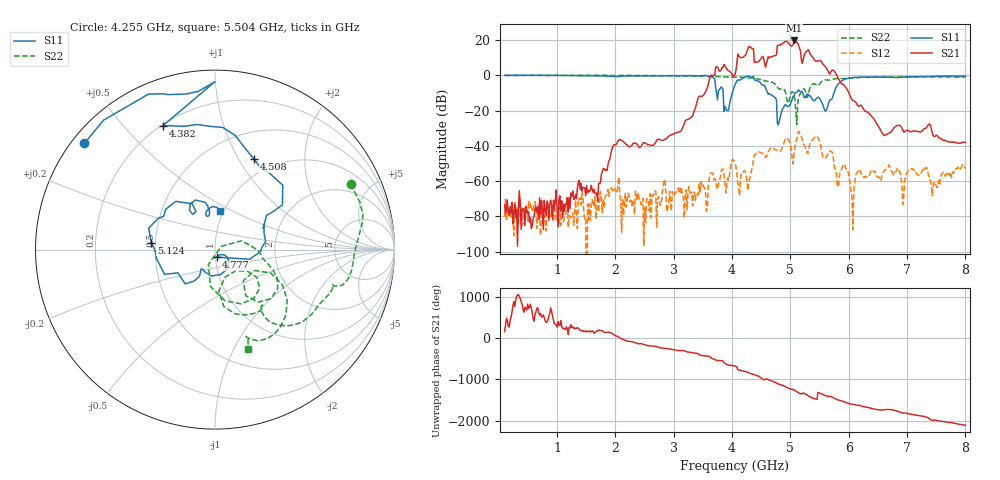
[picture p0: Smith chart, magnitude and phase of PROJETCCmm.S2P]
!Agilent Technologies,E5071C,MY46214845,A.10.06
!Date: Fri Jan 10 10:28:52 2025
!Data & Calibration Information:
!Freq	S11:SOLT2(ON)	S21:SOLT2(ON)	S12:SOLT2(ON)	S22:SOLT2(ON)
!PortZ  Port1:50+j0  Port2:50+j0
!Above PortZ is port z conversion or system Z0 setting when saving the data.
!When reading, reference impedance value at option line is always used.
# Hz S dB R 50
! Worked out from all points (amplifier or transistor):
!   501 points, 100 MHz to 8 GHz, reference 50 ohm
!   highest |S21| = 19.8 dB at 5.061 GHz (marker M1)
!   |S21| within 3 dB of that: 4.776 GHz to 5.005 GHz (228.2 MHz wide, 4.67 % of centre)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
!   unconditionally stable (mu >= 1): 1.839 GHz to 1.96 GHz; 1.993 GHz to 2.173 GHz; 2.214 GHz to end of sweep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
!   at 1.411 GHz: K = -838.54, MSG = 6.2 dB, |S12| = -73.6 dB
!   at 4.05 GHz: K = 22.63, MAG = 8.7 dB, |S12| = -49.8 dB
!   at 8 GHz: K = 330.89, MAG = -20.7 dB, |S12| = -53.0 dB
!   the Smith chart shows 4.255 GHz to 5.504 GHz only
!   S11 on the Smith chart (normalised r, x): 4.255 GHz: 0.04, +0.35; 4.382 GHz: 0.20, +0.65; 4.508 GHz: 0.80, +1.16; 4.777 GHz: 1.01, -0.09; 5.124 GHz: 0.47, +0.04; 5.504 GHz: 0.96, +0.43
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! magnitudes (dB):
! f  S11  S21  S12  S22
! 100 MHz  0.0  -73.4  -80.1  0.0
! 1.427 GHz  -0.2  -65.6  -65.6  0.0
! 1.68 GHz  -0.3  -66.7  -77.1  0.0
! 2.075 GHz  -0.5  -36.3  -67.5  -0.1
! 2.739 GHz  -0.3  -36.3  -68.7  -0.1
! 3.56 GHz  -0.2  -8.3  -77.1  -0.5
! 3.671 GHz  -1.1  -0.4  -55.5  -0.6
! 3.892 GHz  -18.8  4.7  -66.7  -0.9
! 4.05 GHz  -5.4  0.6  -49.8  -1.1
! 4.255 GHz  -0.6  13.7  -60.4  -1.5
! 4.382 GHz  -2.5  7.2  -45.2  -1.7
! 4.508 GHz  -5.2  10.2  -44.2  -2.3
! 4.777 GHz  -27.3  17.0  -42.3  -6.7
! 5.061 GHz  -12.2  19.8  -44.5  -10.8
! 5.124 GHz  -8.9  18.2  -34.0  -16.1
! 5.377 GHz  -13.6  10.4  -36.6  -5.0
! 5.504 GHz  -13.3  8.5  -38.1  -4.7
! 6.057 GHz  -1.3  -13.8  -69.8  -1.4
! 6.167 GHz  -1.1  -17.6  -53.7  -1.4
! 6.689 GHz  -1.1  -32.9  -50.8  -1.0
! 6.926 GHz  -1.0  -30.9  -73.3  -0.9
! 8 GHz  -0.4  -38.0  -53.0  -0.9
